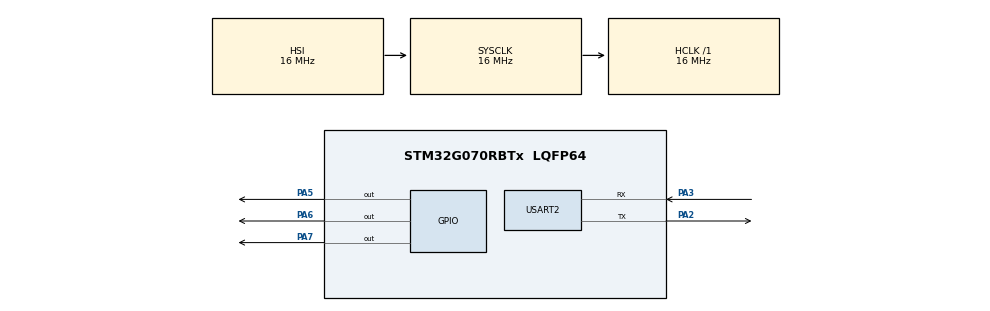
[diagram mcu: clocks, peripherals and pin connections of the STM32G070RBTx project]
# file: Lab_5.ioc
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Mcu.Family=STM32G0
Mcu.Name=STM32G070RBTx
Mcu.Package=LQFP64
NVIC.TIM3_IRQn=true\:3\:0\:false\:false\:true\:false\:true\:true
NVIC.TimeBase=TIM3_IRQn
NVIC.TimeBaseIP=TIM3
PA13.Mode=Serial_Wire
PA13.Signal=SYS_SWDIO
PA14-BOOT0.Mode=Serial_Wire
PA14-BOOT0.Signal=SYS_SWCLK
PA2.Mode=Asynchronous
PA2.Signal=USART2_TX
PA3.Mode=Asynchronous
PA3.Signal=USART2_RX
PA5.Signal=GPIO_Output
PA6.Signal=GPIO_Output
PA7.Signal=GPIO_Output
PC14-OSC32_IN\ (PC14).Mode=LSE-External-Oscillator
PC14-OSC32_IN\ (PC14).Signal=RCC_OSC32_IN
PC15-OSC32_OUT\ (PC15).Mode=LSE-External-Oscillator
PC15-OSC32_OUT\ (PC15).Signal=RCC_OSC32_OUT
PF0-OSC_IN\ (PF0).Mode=HSE-External-Clock-Source
PF0-OSC_IN\ (PF0).Signal=RCC_OSC_IN
ProjectManager.HeapSize=0x200
ProjectManager.StackSize=0x400
ProjectManager.TargetToolchain=STM32CubeIDE
RCC.AHBFreq_Value=16000000
RCC.CortexFreq_Value=16000000
RCC.EXTERNAL_CLOCK_VALUE=12288000
RCC.HCLKFreq_Value=16000000
RCC.HSE_VALUE=8000000
RCC.HSI_VALUE=16000000
RCC.SYSCLKFreq_VALUE=16000000
RCC.VCOOutputFreq_Value=128000000
USART2.VirtualMode-Asynchronous=VM_ASYNC
VP_SYS_VS_tim3.Mode=TIM3
board=NUCLEO-G070RB

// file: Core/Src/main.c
/* USER CODE BEGIN Header */
/**
  ******************************************************************************
  * @file           : main.c
  * @brief          : Main program body
  ******************************************************************************
  * @attention
  *
  * Copyright (c) 2023 STMicroelectronics.
  * All rights reserved.
  *
  * This software is licensed under terms that can be found in the LICENSE file
  * in the root directory of this software component.
  * If no LICENSE file comes with this software, it is provided AS-IS.
  *
  ******************************************************************************
  */
/* USER CODE END Header */
#include "main.h"

/* USER CODE BEGIN Includes */
#include "FreeRTOS.h"
#include "task.h"
#include "stdint.h"

/* USER CODE END Includes */

UART_HandleTypeDef huart2;

/* USER CODE BEGIN PV */
TaskHandle_t t1, t2, t3;

/* USER CODE END PV */

void SystemClock_Config(void);
static void MX_GPIO_Init(void);
static void MX_USART2_UART_Init(void);
/* USER CODE BEGIN PFP */
static void task1(void *p);
static void task2(void *p);
static void task3(void *p);

/* USER CODE END PFP */

/* USER CODE BEGIN 0 */
void delay(unsigned int a)
{
	int i, j;
	for(i=0;i<a;i++)
		for(j=0;j<1000;j++);
}

void transmit1 (void)
{
	uint8_t data[] = "HELLO TASK1\r\n";
	HAL_UART_Transmit(&huart2, data, sizeof(data), 1000);
}

void transmit2 (void)
{
	uint8_t data[] = "HELLO TASK2\r\n";
	HAL_UART_Transmit(&huart2, data, sizeof(data), 1000);
}

void transmit3 (void)
{
	uint8_t data[] = "HELLO TASK3\r\n";
	HAL_UART_Transmit(&huart2, data, sizeof(data), 1000);
}

static void task1(void *p)
{
	uint32_t i;

	while(1)
	{
		for (i=0; i<5;i++)
		{
			transmit1();
		HAL_GPIO_TogglePin(GPIOA,GPIO_PIN_5);
		delay(1000);
		//vTaskDelay(1000);

	}
		vTaskResume(t2);
		vTaskSuspend(t1);
}
}

static void task2(void *p)
{
	uint32_t i;

		while(1)
		{
			for (i=0; i<5;i++)
			{
				transmit2();
			HAL_GPIO_TogglePin(GPIOA,GPIO_PIN_6);
			delay(1000);
			//vTaskDelay(1000);

		}
			vTaskResume(t3);
						vTaskSuspend(t2);
	}
}

static void task3(void *p)
{
	uint32_t i;

			while(1)
			{
				for (i=0; i<10;i++)
				{
					transmit3();
				HAL_GPIO_TogglePin(GPIOA,GPIO_PIN_7);
				delay(1000);
				//vTaskDelay(1000);

			}
				vTaskDelete(t1);
				//vTaskResume(t1);
								//vTaskSuspend(t2);
		}
}

/* USER CODE END 0 */

int main(void)
{

  /* MCU Configuration--------------------------------------------------------*/

  /* Reset of all peripherals, Initializes the Flash interface and the Systick. */
  HAL_Init();

  /* Configure the system clock */
  SystemClock_Config();

  /* Initialize all configured peripherals */
  MX_GPIO_Init();
  MX_USART2_UART_Init();
  /* USER CODE BEGIN 2 */
  xTaskCreate(task1,"T1", 200, NULL,3, &t1);
    xTaskCreate(task2,"T2", 200, NULL,2, &t2);
    xTaskCreate(task3,"T3", 200, NULL,1, &t3);

    //vTaskSuspend(t1);
   // vTaskSuspend(t2);

    vTaskStartScheduler();

  /* USER CODE END 2 */

  /* Infinite loop */
  while (1)
  {

  }
}

void SystemClock_Config(void)
{
  RCC_OscInitTypeDef RCC_OscInitStruct = {0};
  RCC_ClkInitTypeDef RCC_ClkInitStruct = {0};

  /** Configure the main internal regulator output voltage
  */
  HAL_PWREx_ControlVoltageScaling(PWR_REGULATOR_VOLTAGE_SCALE1);

  /** Initializes the RCC Oscillators according to the specified parameters
  * in the RCC_OscInitTypeDef structure.
  */
  RCC_OscInitStruct.OscillatorType = RCC_OSCILLATORTYPE_HSI;
  RCC_OscInitStruct.HSIState = RCC_HSI_ON;
  RCC_OscInitStruct.HSIDiv = RCC_HSI_DIV1;
  RCC_OscInitStruct.HSICalibrationValue = RCC_HSICALIBRATION_DEFAULT;
  RCC_OscInitStruct.PLL.PLLState = RCC_PLL_NONE;
  if (HAL_RCC_OscConfig(&RCC_OscInitStruct) != HAL_OK)
  {
    Error_Handler();
  }

  /** Initializes the CPU, AHB and APB buses clocks
  */
  RCC_ClkInitStruct.ClockType = RCC_CLOCKTYPE_HCLK|RCC_CLOCKTYPE_SYSCLK
                              |RCC_CLOCKTYPE_PCLK1;
  RCC_ClkInitStruct.SYSCLKSource = RCC_SYSCLKSOURCE_HSI;
  RCC_ClkInitStruct.AHBCLKDivider = RCC_SYSCLK_DIV1;
  RCC_ClkInitStruct.APB1CLKDivider = RCC_HCLK_DIV1;

  if (HAL_RCC_ClockConfig(&RCC_ClkInitStruct, FLASH_LATENCY_0) != HAL_OK)
  {
    Error_Handler();
  }
}

static void MX_USART2_UART_Init(void)
{

  huart2.Instance = USART2;
  huart2.Init.BaudRate = 115200;
  huart2.Init.WordLength = UART_WORDLENGTH_8B;
  huart2.Init.StopBits = UART_STOPBITS_1;
  huart2.Init.Parity = UART_PARITY_NONE;
  huart2.Init.Mode = UART_MODE_TX_RX;
  huart2.Init.HwFlowCtl = UART_HWCONTROL_NONE;
  huart2.Init.OverSampling = UART_OVERSAMPLING_16;
  huart2.Init.OneBitSampling = UART_ONE_BIT_SAMPLE_DISABLE;
  huart2.Init.ClockPrescaler = UART_PRESCALER_DIV1;
  huart2.AdvancedInit.AdvFeatureInit = UART_ADVFEATURE_NO_INIT;
  if (HAL_UART_Init(&huart2) != HAL_OK)
  {
    Error_Handler();
  }
  if (HAL_UARTEx_SetTxFifoThreshold(&huart2, UART_TXFIFO_THRESHOLD_1_8) != HAL_OK)
  {
    Error_Handler();
  }
  if (HAL_UARTEx_SetRxFifoThreshold(&huart2, UART_RXFIFO_THRESHOLD_1_8) != HAL_OK)
  {
    Error_Handler();
  }
  if (HAL_UARTEx_DisableFifoMode(&huart2) != HAL_OK)
  {
    Error_Handler();
  }

}

static void MX_GPIO_Init(void)
{
  GPIO_InitTypeDef GPIO_InitStruct = {0};

  /* GPIO Ports Clock Enable */
  __HAL_RCC_GPIOC_CLK_ENABLE();
  __HAL_RCC_GPIOF_CLK_ENABLE();
  __HAL_RCC_GPIOA_CLK_ENABLE();

  /*Configure GPIO pin Output Level */
  HAL_GPIO_WritePin(GPIOA, GPIO_PIN_5|GPIO_PIN_6|GPIO_PIN_7, GPIO_PIN_RESET);

  /*Configure GPIO pins : PA5 PA6 PA7 */
  GPIO_InitStruct.Pin = GPIO_PIN_5|GPIO_PIN_6|GPIO_PIN_7;
  GPIO_InitStruct.Mode = GPIO_MODE_OUTPUT_PP;
  GPIO_InitStruct.Pull = GPIO_NOPULL;
  GPIO_InitStruct.Speed = GPIO_SPEED_FREQ_LOW;
  HAL_GPIO_Init(GPIOA, &GPIO_InitStruct);

}

void HAL_TIM_PeriodElapsedCallback(TIM_HandleTypeDef *htim)
{
  if (htim->Instance == TIM3) {
    HAL_IncTick();
  }
}

void Error_Handler(void)
{
  __disable_irq();
  while (1)
  {
  }
}
